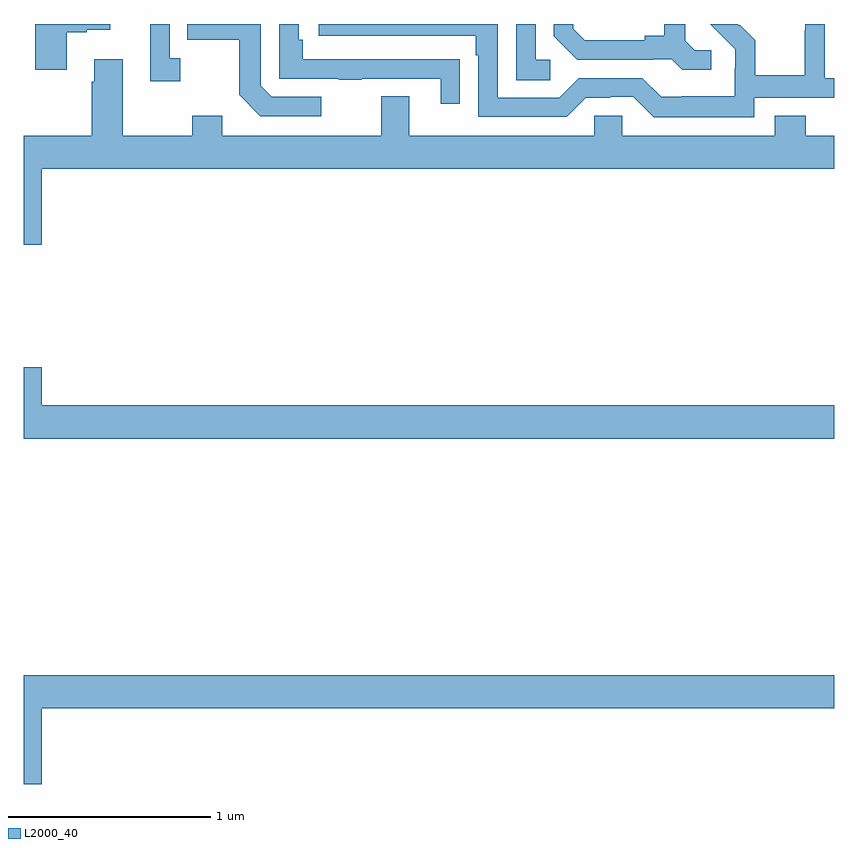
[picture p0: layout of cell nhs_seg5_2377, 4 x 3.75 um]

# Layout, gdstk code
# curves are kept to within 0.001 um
import gdstk
lib = gdstk.Library(unit=1e-6, precision=1e-09)
def P(c, l, *ps):  # polygons
    for p in ps: c.add(gdstk.Polygon(p, *l))
L2000_40 = (2000, 40)

nhs_seg5_2377 = lib.new_cell('nhs_seg5_2377')
P(nhs_seg5_2377, L2000_40, [(251.153,866.624),(251.051,866.624),(251.051,866.625),(250.376,866.625),(250.376,866.722),(250.356,866.722),(250.356,866.799),(250.26,866.799),(250.26,866.529),(250.555,866.529),(250.555,866.524),(250.667,866.524),(250.667,866.529),(251.057,866.529),(251.057,866.406),(251.153,866.406)],
  [(252.394,866.67),(252.312,866.67),(252.265,866.717),(252.265,866.799),(252.161,866.799),(252.161,866.741),(252.065,866.741),(252.065,866.718),(251.77,866.718),(251.713,866.775),(251.713,866.799),(251.616,866.799),(251.616,866.738),(251.732,866.622),(252.104,866.622),(252.104,866.625),(252.198,866.625),(252.25,866.573),(252.394,866.573)],
  [(251.599,866.622),(251.526,866.622),(251.526,866.799),(251.43,866.799),(251.43,866.521),(251.599,866.521)],
  [(250.468,866.439),(250.224,866.439),(250.17,866.493),(250.17,866.799),(249.805,866.799),(249.805,866.722),(250.062,866.722),(250.062,866.449),(250.167,866.343),(250.468,866.343)],
  [(249.772,866.63),(249.72,866.63),(249.72,866.799),(249.623,866.799),(249.623,866.517),(249.772,866.517)],
  [(249.211,866.759),(249.311,866.759),(249.311,866.771),(249.427,866.771),(249.427,866.799),(249.056,866.799),(249.056,866.574),(249.211,866.574)],
  [(252.606,866.436),(253,866.436),(253,866.532),(252.954,866.532),(252.954,866.799),(252.858,866.799),(252.858,866.768),(252.856,866.768),(252.856,866.545),(252.611,866.545),(252.611,866.719),(252.534,866.796),(252.531,866.793),(252.525,866.799),(252.389,866.799),(252.512,866.674),(252.512,866.577),(252.51,866.577),(252.51,866.443),(252.247,866.443),(252.247,866.439),(252.147,866.439),(252.054,866.532),(251.739,866.532),(251.643,866.436),(251.34,866.436),(251.34,866.799),(250.455,866.799),(250.455,866.742),(251.231,866.742),(251.231,866.645),(251.244,866.645),(251.244,866.34),(251.679,866.34),(251.775,866.436),(251.894,866.436),(251.894,866.439),(252.009,866.439),(252.109,866.339),(252.606,866.339)],
  [(249.088,866.084),(253,866.084),(253,866.248),(252.86,866.248),(252.86,866.347),(252.707,866.347),(252.707,866.248),(251.955,866.248),(251.955,866.346),(251.817,866.346),(251.817,866.248),(250.903,866.248),(250.903,866.443),(250.763,866.443),(250.763,866.248),(249.979,866.248),(249.979,866.347),(249.832,866.347),(249.832,866.248),(249.487,866.248),(249.487,866.626),(249.347,866.626),(249.347,866.513),(249.335,866.513),(249.335,866.248),(249,866.248),(249,865.71),(249.088,865.71)],
  [(253,864.916),(249.088,864.916),(249.088,865.105),(249,865.105),(249,864.752),(253,864.752)],
  [(249.088,863.42),(253,863.42),(253,863.584),(249,863.584),(249,863.046),(249.088,863.046)])

lib.write_gds('nhs_seg5_2377.gds')
